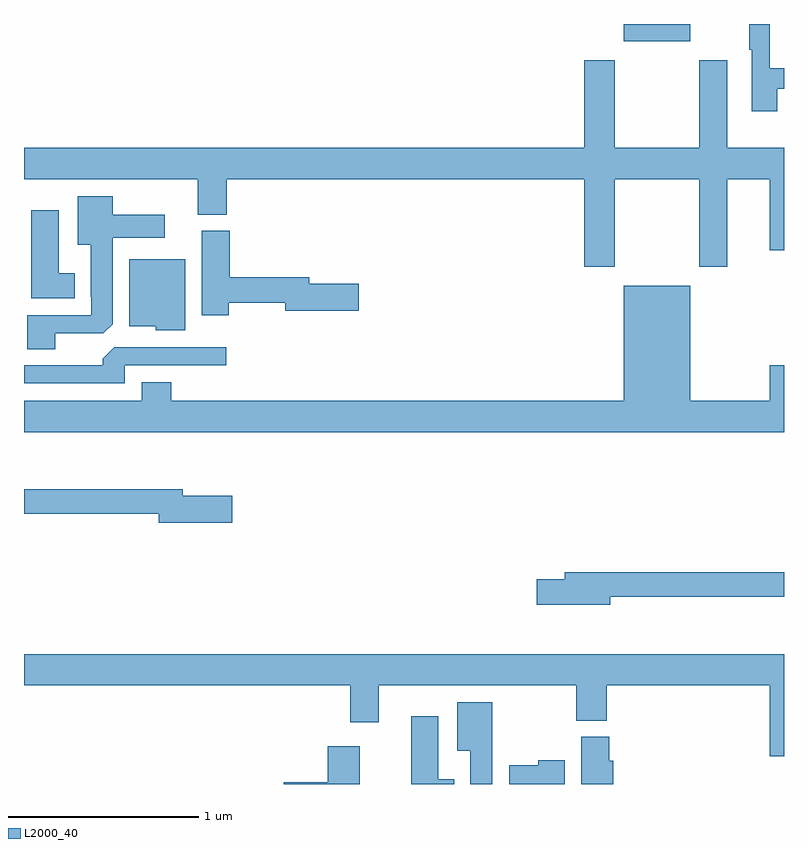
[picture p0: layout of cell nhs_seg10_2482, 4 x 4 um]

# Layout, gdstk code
import gdstk
lib = gdstk.Library(unit=1e-6, precision=1e-09)
def R(c, l, rs):  # rectangles x0, y0, x1, y1
    for r in rs: c.add(gdstk.rectangle(r[:2], r[2:], *l))
def P(c, l, *ps):  # polygons
    for p in ps: c.add(gdstk.Polygon(p, *l))
L2000_40 = (2000, 40)

nhs_seg10_2482 = lib.new_cell('nhs_seg10_2482')
R(nhs_seg10_2482, L2000_40, [(248.156,1266.41,248.506,1266.5)])
P(nhs_seg10_2482, L2000_40, [(248.965,1266.159),(249,1266.159),(249,1266.267),(248.925,1266.267),(248.925,1266.5),(248.817,1266.5),(248.817,1266.364),(248.829,1266.364),(248.829,1266.042),(248.965,1266.042)],
  [(248.109,1265.684),(248.554,1265.684),(248.554,1265.223),(248.701,1265.223),(248.701,1265.684),(248.924,1265.684),(248.924,1265.31),(249,1265.31),(249,1265.848),(248.701,1265.848),(248.701,1266.31),(248.554,1266.31),(248.554,1265.848),(248.109,1265.848),(248.109,1266.31),(247.949,1266.31),(247.949,1265.848),(245,1265.848),(245,1265.684),(245.915,1265.684),(245.915,1265.497),(246.068,1265.497),(246.068,1265.684),(247.949,1265.684),(247.949,1265.223),(248.109,1265.223)],
  [(245.164,1264.872),(245.418,1264.872),(245.467,1264.921),(245.467,1265.375),(245.74,1265.375),(245.74,1265.497),(245.467,1265.497),(245.467,1265.593),(245.282,1265.593),(245.282,1265.339),(245.351,1265.339),(245.351,1265.065),(245.355,1265.065),(245.355,1264.968),(245.017,1264.968),(245.017,1264.789),(245.164,1264.789)],
  [(245.266,1265.188),(245.182,1265.188),(245.182,1265.521),(245.039,1265.521),(245.039,1265.057),(245.266,1265.057)],
  [(246.078,1265.032),(246.374,1265.032),(246.374,1264.99),(246.763,1264.99),(246.763,1265.132),(246.502,1265.132),(246.502,1265.168),(246.083,1265.168),(246.083,1265.412),(245.936,1265.412),(245.936,1264.968),(246.078,1264.968)],
  [(245.848,1265.263),(245.555,1265.263),(245.555,1264.91),(245.694,1264.91),(245.694,1264.889),(245.848,1264.889)],
  [(249,1264.705),(248.924,1264.705),(248.924,1264.516),(248.506,1264.516),(248.506,1265.122),(248.156,1265.122),(248.156,1264.516),(245.774,1264.516),(245.774,1264.615),(245.621,1264.615),(245.621,1264.516),(245,1264.516),(245,1264.352),(249,1264.352)],
  [(245.529,1264.704),(246.064,1264.704),(246.064,1264.8),(245.475,1264.8),(245.414,1264.738),(245.414,1264.704),(245,1264.704),(245,1264.608),(245.529,1264.608)],
  [(246.097,1264.017),(245.836,1264.017),(245.836,1264.051),(245,1264.051),(245,1263.922),(245.708,1263.922),(245.708,1263.875),(246.097,1263.875)],
  [(248.086,1263.486),(249,1263.486),(249,1263.614),(247.847,1263.614),(247.847,1263.578),(247.698,1263.578),(247.698,1263.443),(248.086,1263.443)],
  [(249,1263.184),(245,1263.184),(245,1263.02),(246.716,1263.02),(246.716,1262.826),(246.868,1262.826),(246.868,1263.02),(247.906,1263.02),(247.906,1262.833),(248.066,1262.833),(248.066,1263.02),(248.924,1263.02),(248.924,1262.646),(249,1262.646)],
  [(247.465,1262.929),(247.28,1262.929),(247.28,1262.675),(247.349,1262.675),(247.349,1262.5),(247.465,1262.5)],
  [(247.264,1262.524),(247.18,1262.524),(247.18,1262.857),(247.037,1262.857),(247.037,1262.5),(247.264,1262.5)],
  [(248.102,1262.622),(248.081,1262.622),(248.081,1262.748),(247.934,1262.748),(247.934,1262.5),(248.102,1262.5)],
  [(246.766,1262.698),(246.599,1262.698),(246.599,1262.51),(246.366,1262.51),(246.366,1262.5),(246.766,1262.5)],
  [(247.846,1262.626),(247.707,1262.626),(247.707,1262.599),(247.553,1262.599),(247.553,1262.5),(247.846,1262.5)])

lib.write_gds('nhs_seg10_2482.gds')
